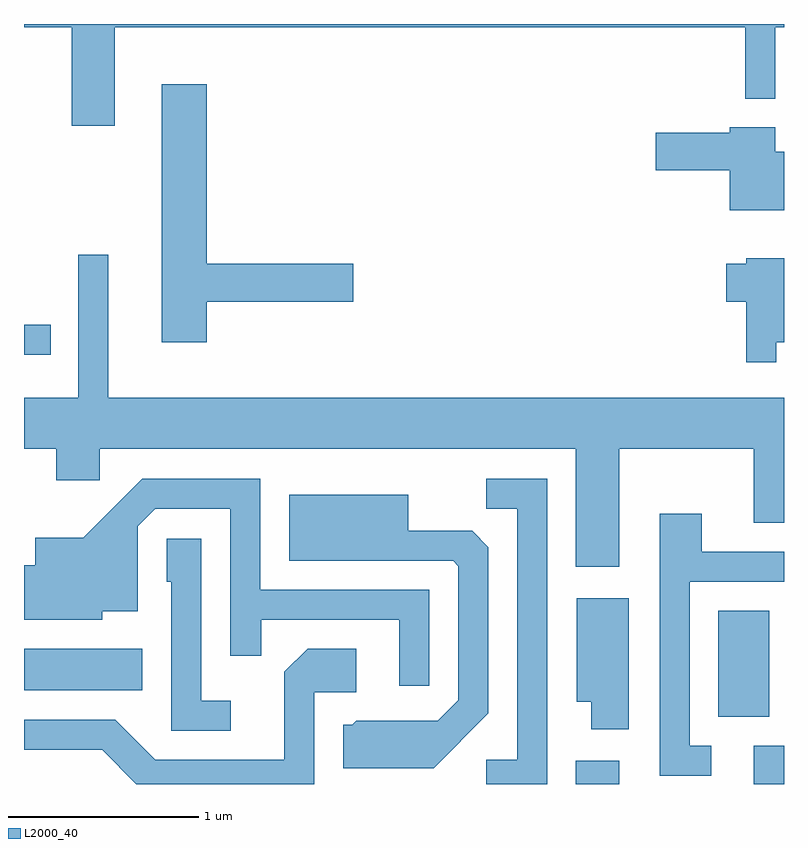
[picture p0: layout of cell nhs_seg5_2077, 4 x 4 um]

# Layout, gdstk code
import gdstk
lib = gdstk.Library(unit=1e-6, precision=1e-09)
def R(c, l, rs):  # rectangles x0, y0, x1, y1
    for r in rs: c.add(gdstk.rectangle(r[:2], r[2:], *l))
def P(c, l, *ps):  # polygons
    for p in ps: c.add(gdstk.Polygon(p, *l))
L2000_40 = (2000, 40)

nhs_seg5_2077 = lib.new_cell('nhs_seg5_2077')
R(nhs_seg5_2077, L2000_40, [(248.516,1526.072,248.744,1526.194), (249.451,1526.072,249.611,1526.274), (249.266,1526.426,249.534,1526.984), (245.611,1526.566,246.234,1526.784), (245.611,1528.331,245.753,1528.489)])
P(nhs_seg5_2077, L2000_40, [(246.089,1530.056),(249.406,1530.056),(249.406,1529.678),(249.564,1529.678),(249.564,1530.056),(249.611,1530.056),(249.611,1530.072),(245.611,1530.072),(245.611,1530.056),(245.861,1530.056),(245.861,1529.536),(246.089,1529.536)],
  [(246.574,1528.611),(247.344,1528.611),(247.344,1528.809),(246.574,1528.809),(246.574,1529.754),(246.336,1529.754),(246.336,1528.396),(246.574,1528.396)],
  [(249.611,1529.399),(249.564,1529.399),(249.564,1529.529),(249.326,1529.529),(249.326,1529.499),(248.936,1529.499),(248.936,1529.301),(249.326,1529.301),(249.326,1529.091),(249.611,1529.091)],
  [(248.744,1527.836),(249.451,1527.836),(249.451,1527.446),(249.611,1527.446),(249.611,1528.104),(246.054,1528.104),(246.054,1528.858),(245.896,1528.858),(245.896,1528.104),(245.611,1528.104),(245.611,1527.836),(245.781,1527.836),(245.781,1527.671),(246.009,1527.671),(246.009,1527.836),(248.516,1527.836),(248.516,1527.216),(248.744,1527.216)],
  [(249.569,1528.396),(249.611,1528.396),(249.611,1528.839),(249.411,1528.839),(249.411,1528.809),(249.306,1528.809),(249.306,1528.611),(249.411,1528.611),(249.411,1528.293),(249.569,1528.293)],
  [(248.364,1527.679),(248.043,1527.679),(248.043,1527.521),(248.206,1527.521),(248.206,1526.199),(248.043,1526.199),(248.043,1526.072),(248.364,1526.072)],
  [(247.744,1527.094),(246.854,1527.094),(246.854,1527.679),(246.234,1527.679),(245.924,1527.369),(245.671,1527.369),(245.671,1527.224),(245.611,1527.224),(245.611,1526.936),(246.024,1526.936),(246.024,1526.981),(246.209,1526.981),(246.209,1527.429),(246.302,1527.521),(246.696,1527.521),(246.696,1526.748),(246.859,1526.748),(246.859,1526.936),(247.586,1526.936),(247.586,1526.588),(247.744,1526.588)],
  [(248.054,1526.444),(248.054,1527.319),(247.969,1527.404),(247.634,1527.404),(247.634,1527.594),(247.006,1527.594),(247.006,1527.246),(247.869,1527.246),(247.896,1527.219),(247.896,1526.512),(247.789,1526.404),(247.359,1526.404),(247.339,1526.384),(247.291,1526.384),(247.291,1526.156),(247.767,1526.156)],
  [(249.228,1526.274),(249.114,1526.274),(249.114,1527.136),(249.611,1527.136),(249.611,1527.294),(249.179,1527.294),(249.179,1527.494),(248.956,1527.494),(248.956,1526.116),(249.228,1526.116)],
  [(246.698,1526.509),(246.544,1526.509),(246.544,1527.364),(246.361,1527.364),(246.361,1527.136),(246.386,1527.136),(246.386,1526.351),(246.698,1526.351)],
  [(248.794,1527.049),(248.521,1527.049),(248.521,1526.506),(248.596,1526.506),(248.596,1526.361),(248.794,1526.361)],
  [(247.139,1526.556),(247.359,1526.556),(247.359,1526.784),(247.104,1526.784),(246.981,1526.662),(246.981,1526.199),(246.302,1526.199),(246.092,1526.409),(245.611,1526.409),(245.611,1526.251),(246.024,1526.251),(246.203,1526.072),(247.139,1526.072)])

lib.write_gds('nhs_seg5_2077.gds')
